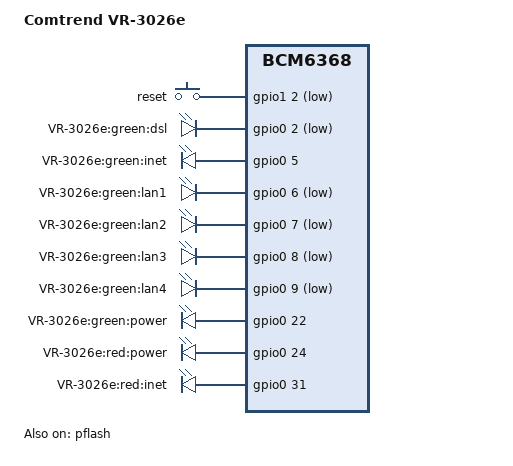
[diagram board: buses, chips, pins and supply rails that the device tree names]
/dts-v1/;

#include "bcm6368.dtsi"

#include <dt-bindings/input/input.h>

/ {
	model = "Comtrend VR-3026e";
	compatible = "comtrend,vr-3026e", "brcm,bcm6368";

	gpio-keys-polled {
		compatible = "gpio-keys-polled";
		#address-cells = <1>;
		#size-cells = <0>;
		poll-interval = <20>;
		debounce-interval = <60>;

		reset {
			label = "reset";
			gpios = <&gpio1 2 1>;
			linux,code = <KEY_RESTART>;
		};
	};

	gpio-leds {
		compatible = "gpio-leds";

		dsl_green {
			label = "VR-3026e:green:dsl";
			gpios = <&gpio0 2 1>;
		};
		inet_green {
			label = "VR-3026e:green:inet";
			gpios = <&gpio0 5 0>;
		};
		lan1_green {
			label = "VR-3026e:green:lan1";
			gpios = <&gpio0 6 1>;
		};
		lan2_green {
			label = "VR-3026e:green:lan2";
			gpios = <&gpio0 7 1>;
		};
		lan3_green {
			label = "VR-3026e:green:lan3";
			gpios = <&gpio0 8 1>;
		};
		lan4_green {
			label = "VR-3026e:green:lan4";
			gpios = <&gpio0 9 1>;
		};
		power_green {
			label = "VR-3026e:green:power";
			gpios = <&gpio0 22 0>;
			default-state = "on";
		};
		power_red {
			label = "VR-3026e:red:power";
			gpios = <&gpio0 24 0>;
		};
		inet_red {
			label = "VR-3026e:red:inet";
			gpios = <&gpio0 31 0>;
		};
	};
};

&pflash {
	status = "ok";

	linux,part-probe = "bcm63xxpart";

	cfe@0 {
		label = "CFE";
		reg = <0x000000 0x010000>;
		read-only;
	};

	linux@10000 {
		label = "linux";
		reg = <0x010000 0x7e0000>;
	};

	nvram@7f0000 {
		label = "nvram";
		reg = <0x7f0000 0x010000>;
	};
};
